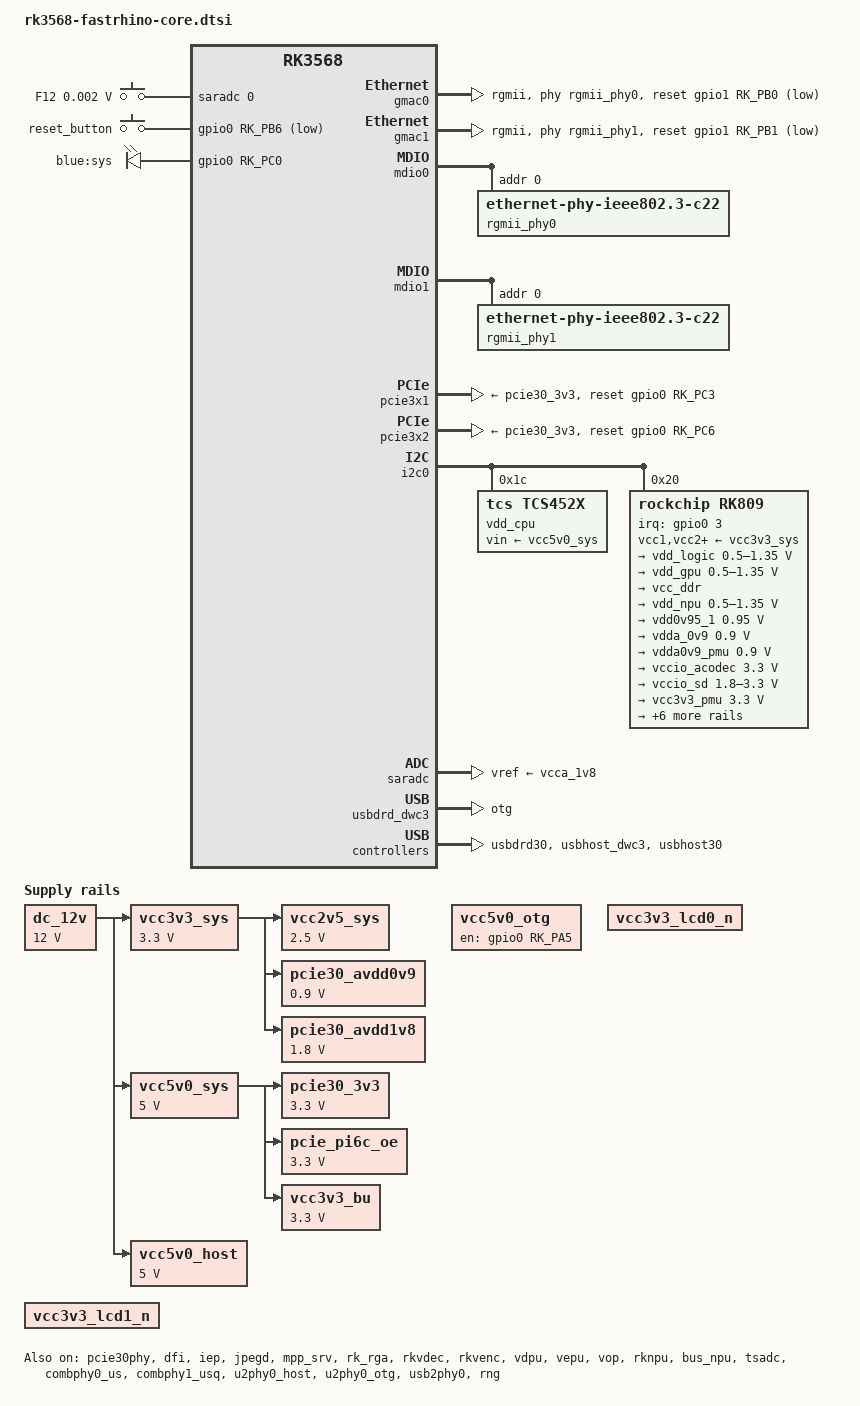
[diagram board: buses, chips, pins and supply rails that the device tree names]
// SPDX-License-Identifier: (GPL-2.0+ OR MIT)
/*
 * Copyright (c) 2020 Rockchip Electronics Co., Ltd.
 *
 */

 /dts-v1/;

#include <dt-bindings/gpio/gpio.h>
#include <dt-bindings/pwm/pwm.h>
#include <dt-bindings/pinctrl/rockchip.h>
#include <dt-bindings/input/rk-input.h>
#include <dt-bindings/display/drm_mipi_dsi.h>
#include <dt-bindings/sensor-dev.h>
#include "rk3568.dtsi"

/ {
	compatible = "fastrhino,core", "rockchip,rk3568";

	chosen: chosen {
		bootargs = "earlycon=uart8250,mmio32,0xfe660000 console=ttyFIQ0 root=PARTUUID=614e0000-0000 rw rootwait";
	};

	fiq-debugger {
		compatible = "rockchip,fiq-debugger";
		rockchip,serial-id = <2>;
		rockchip,wake-irq = <0>;
		/* If enable uart uses irq instead of fiq */
		rockchip,irq-mode-enable = <1>;
		rockchip,baudrate = <1500000>;  /* Only 115200 and 1500000 */
		interrupts = <GIC_SPI 252 IRQ_TYPE_LEVEL_LOW>;
		pinctrl-names = "default";
		pinctrl-0 = <&uart2m0_xfer>;
		status = "okay";
	};

	debug: debug@fd904000 {
		compatible = "rockchip,debug";
		reg = <0x0 0xfd904000 0x0 0x1000>,
			<0x0 0xfd905000 0x0 0x1000>,
			<0x0 0xfd906000 0x0 0x1000>,
			<0x0 0xfd907000 0x0 0x1000>;
	};

	cspmu: cspmu@fd90c000 {
		compatible = "rockchip,cspmu";
		reg = <0x0 0xfd90c000 0x0 0x1000>,
			<0x0 0xfd90d000 0x0 0x1000>,
			<0x0 0xfd90e000 0x0 0x1000>,
			<0x0 0xfd90f000 0x0 0x1000>;
	};

	dc_12v: dc-12v {
		compatible = "regulator-fixed";
		regulator-name = "dc_12v";
		regulator-always-on;
		regulator-boot-on;
		regulator-min-microvolt = <12000000>;
		regulator-max-microvolt = <12000000>;
	};

	hdmi_sound: hdmi-sound {
		compatible = "simple-audio-card";
		simple-audio-card,format = "i2s";
		simple-audio-card,mclk-fs = <128>;
		simple-audio-card,name = "rockchip,hdmi";
		status = "disabled";

		simple-audio-card,cpu {
				sound-dai = <&i2s0_8ch>;
		};
		simple-audio-card,codec {
				sound-dai = <&hdmi>;
		};
	};

	vcc3v3_sys: vcc3v3-sys {
		compatible = "regulator-fixed";
		regulator-name = "vcc3v3_sys";
		regulator-always-on;
		regulator-boot-on;
		regulator-min-microvolt = <3300000>;
		regulator-max-microvolt = <3300000>;
		vin-supply = <&dc_12v>;
	};

	vcc5v0_sys: vcc5v0-sys {
		compatible = "regulator-fixed";
		regulator-name = "vcc5v0_sys";
		regulator-always-on;
		regulator-boot-on;
		regulator-min-microvolt = <5000000>;
		regulator-max-microvolt = <5000000>;
		vin-supply = <&dc_12v>;
	};

	vcc5v0_host: vcc5v0-host-regulator {
		compatible = "regulator-fixed";
		regulator-name = "vcc5v0_host";
		regulator-always-on;
		regulator-boot-on;
		regulator-min-microvolt = <5000000>;
		regulator-max-microvolt = <5000000>;
		vin-supply = <&dc_12v>;
	};

	vcc5v0_otg: vcc5v0-otg-regulator {
		compatible = "regulator-fixed";
		enable-active-high;
		gpio = <&gpio0 RK_PA5 GPIO_ACTIVE_HIGH>;
		pinctrl-names = "default";
		pinctrl-0 = <&vcc5v0_otg_en>;
		regulator-name = "vcc5v0_otg";
	};

	vcc3v3_lcd0_n: vcc3v3-lcd0-n {
		compatible = "regulator-fixed";
		regulator-name = "vcc3v3_lcd0_n";
		regulator-boot-on;
		regulator-state-mem {
			regulator-off-in-suspend;
		};
	};

	vcc3v3_lcd1_n: vcc3v3-lcd1-n {
		compatible = "regulator-fixed";
		regulator-name = "vcc3v3_lcd1_n";
		regulator-boot-on;
		regulator-state-mem {
			regulator-off-in-suspend;
		};
	};

	vcc2v5_sys: vcc2v5-ddr {
		compatible = "regulator-fixed";
		regulator-name = "vcc2v5-sys";
		regulator-always-on;
		regulator-boot-on;
		regulator-min-microvolt = <2500000>;
		regulator-max-microvolt = <2500000>;
		vin-supply = <&vcc3v3_sys>;
	};

	vcc3v3_vga: vcc3v3-vga {
		compatible = "regulator-fixed";
		regulator-name = "vcc3v3_vga";
		regulator-always-on;
		regulator-boot-on;
		gpio = <&gpio0 RK_PD5 GPIO_ACTIVE_HIGH>;
		enable-active-high;
		vin-supply = <&vcc3v3_sys>;
	};

	pcie30_avdd0v9: pcie30-avdd0v9 {
		compatible = "regulator-fixed";
		regulator-name = "pcie30_avdd0v9";
		regulator-always-on;
		regulator-boot-on;
		regulator-min-microvolt = <900000>;
		regulator-max-microvolt = <900000>;
		vin-supply = <&vcc3v3_sys>;
	};

	pcie30_avdd1v8: pcie30-avdd1v8 {
		compatible = "regulator-fixed";
		regulator-name = "pcie30_avdd1v8";
		regulator-always-on;
		regulator-boot-on;
		regulator-min-microvolt = <1800000>;
		regulator-max-microvolt = <1800000>;
		vin-supply = <&vcc3v3_sys>;
	};

	pcie30_3v3: gpio-regulator {
		compatible = "regulator-fixed";
		regulator-name = "pcie30_3v3";
		regulator-always-on;
		regulator-boot-on;
		regulator-min-microvolt = <3300000>;
		regulator-max-microvolt = <3300000>;
		vin-supply = <&vcc5v0_sys>;
	};

    pcie_pi6c_oe: pcie-pi6c-oe-regulator {
		compatible = "regulator-fixed";
		regulator-name = "pcie_pi6c_oe_en";
		regulator-always-on;
		regulator-boot-on;
		regulator-min-microvolt = <3300000>;
		regulator-max-microvolt = <3300000>;
		vin-supply = <&vcc5v0_sys>;
	};

	vcc3v3_bu: vcc3v3-bu {
		compatible = "regulator-fixed";
		regulator-name = "vcc3v3_bu";
		regulator-always-on;
		regulator-boot-on;
		regulator-min-microvolt = <3300000>;
		regulator-max-microvolt = <3300000>;
		vin-supply = <&vcc5v0_sys>;
	};

	adc_keys: adc-keys {
		compatible = "adc-keys";
		io-channels = <&saradc 0>;
		io-channel-names = "buttons";
		keyup-threshold-microvolt = <1800000>;
		poll-interval = <100>;

		recovery-key {
			label = "F12";
			linux,code = <KEY_F12>;
			press-threshold-microvolt = <1750>;
		};
	};

	gpio_keys {
		compatible = "gpio-keys";
		pinctrl-0 = <&reset_button>;
		pinctrl-names = "default";

		button@1 {
			label = "reset_button";
			linux,code = <KEY_RESTART>;
			gpios = <&gpio0 RK_PB6 GPIO_ACTIVE_LOW>;
			linux,input-type = <1>;
			debounce-interval = <60>;
		};
	};

	test-power {
		status = "okay";
	};

	leds {
		compatible = "gpio-leds";
		sys_led: sys {
			gpios = <&gpio0 RK_PC0 GPIO_ACTIVE_HIGH>;
			linux,default-trigger = "heartbeat";
			default-state = "on";
			label = "blue:sys";
			pinctrl-names = "default";
			pinctrl-0 = <&led_sys>;
		};
	};

};

/* LAN0 */
&gmac0 {
	phy-mode = "rgmii";
	clock_in_out = "input";

	snps,reset-gpio = <&gpio1 RK_PB0 GPIO_ACTIVE_LOW>;
	snps,reset-active-low;
	/* Reset time is 20ms, 100ms for rtl8211f */
	snps,reset-delays-us = <0 20000 100000>;

	assigned-clocks = <&cru SCLK_GMAC0_RX_TX>, <&cru SCLK_GMAC0>;
	assigned-clock-parents = <&cru SCLK_GMAC0_RGMII_SPEED>, <&gmac0_clkin>;

	pinctrl-names = "default";
	pinctrl-0 = <&gmac0_miim
		     &gmac0_tx_bus2
		     &gmac0_rx_bus2
		     &gmac0_rgmii_clk
		     &gmac0_rgmii_bus
		     &gmac0_clkinout>;

	tx_delay = <0x3c>;
	rx_delay = <0x2f>;

	phy-handle = <&rgmii_phy0>;
	status = "okay";
};

/* LAN1 */
&gmac1 {
	phy-mode = "rgmii";
	clock_in_out = "input";

	snps,reset-gpio = <&gpio1 RK_PB1 GPIO_ACTIVE_LOW>;
	snps,reset-active-low;
	/* Reset time is 20ms, 100ms for rtl8211f */
	snps,reset-delays-us = <0 20000 100000>;

	assigned-clocks = <&cru SCLK_GMAC1_RX_TX>, <&cru SCLK_GMAC1>;
	assigned-clock-parents = <&cru SCLK_GMAC1_RGMII_SPEED>, <&gmac1_clkin>;

	pinctrl-names = "default";
	pinctrl-0 = <&gmac1m1_miim
		     &gmac1m1_tx_bus2
		     &gmac1m1_rx_bus2
		     &gmac1m1_rgmii_clk
		     &gmac1m1_rgmii_bus
		     &gmac1m1_clkinout>;

	tx_delay = <0x4f>;
	rx_delay = <0x26>;

	phy-handle = <&rgmii_phy1>;
	status = "okay";
};

&mdio0 {
	rgmii_phy0: phy@0 {
		compatible = "ethernet-phy-ieee802.3-c22";
		reg = <0x0>;
	};
};

&mdio1 {
	rgmii_phy1: phy@0 {
		compatible = "ethernet-phy-ieee802.3-c22";
		reg = <0x0>;
	};
};

&rgmii_phy0 {
	led_status_value = <0x6940>;
};

&rgmii_phy1 {
	led_status_value = <0x6940>;
};

&pcie30phy {
	status = "okay";
};

/* LAN3 */
&pcie3x1 {
	rockchip,bifurcation;
	reset-gpios = <&gpio0 RK_PC3 GPIO_ACTIVE_HIGH>;
	vpcie3v3-supply = <&pcie30_3v3>;
	status = "okay";
};

/* LAN2 */
&pcie3x2 {
	rockchip,bifurcation;
	reset-gpios = <&gpio0 RK_PC6 GPIO_ACTIVE_HIGH>;
	vpcie3v3-supply = <&pcie30_3v3>;
	status = "okay";
};

&pwm15 {
	status = "disabled";
	compatible = "rockchip,remotectl-pwm";
	remote_pwm_id = <3>;
	handle_cpu_id = <1>;
	remote_support_psci = <0>;
	pinctrl-names = "default";
	pinctrl-0 = <&pwm15m1_pins>;

	ir_key_r68s {
		rockchip,usercode = <0xff00>;
		rockchip,key_table =
			<0xeb   KEY_POWER>,
			<0xec   KEY_MENU>,
			<0xfe   KEY_BACK>,
			<0xb7   KEY_HOME>,
			<0xa3   KEY_WWW>,
			<0xf4   KEY_VOLUMEUP>,
			<0xa7   KEY_VOLUMEDOWN>,
			<0xf8   KEY_REPLY>,
			<0xfc   KEY_UP>,
			<0xfd   KEY_DOWN>,
			<0xf1   KEY_LEFT>,
			<0xe5   KEY_RIGHT>;
	};
};

&cpu0 {
	cpu-supply = <&vdd_cpu>;
};

&dfi {
	status = "okay";
};

&dmc {
	center-supply = <&vdd_logic>;
	status = "disabled";
};

&gpu {
	mali-supply = <&vdd_gpu>;
	status = "disabled";
};

&hdmi {
	status = "disabled";
};

&hdmi_in_vp0 {
	status = "disabled";
};

&hdmi_in_vp1 {
	status = "disabled";
};

&i2c0 {
	status = "okay";

	vdd_cpu: tcs4525@1c {
		compatible = "tcs,tcs452x";
		reg = <0x1c>;
		vin-supply = <&vcc5v0_sys>;
		regulator-compatible = "fan53555-reg";
		regulator-name = "vdd_cpu";
		regulator-min-microvolt = <712500>;
		regulator-max-microvolt = <1390000>;
		regulator-ramp-delay = <2300>;
		fcs,suspend-voltage-selector = <1>;
		regulator-boot-on;
		regulator-always-on;
		regulator-state-mem {
			regulator-off-in-suspend;
		};
	};

	rk809: pmic@20 {
		compatible = "rockchip,rk809";
		reg = <0x20>;
		interrupt-parent = <&gpio0>;
		interrupts = <3 IRQ_TYPE_LEVEL_LOW>;

		pinctrl-names = "default", "pmic-sleep",
				"pmic-power-off", "pmic-reset";
		pinctrl-0 = <&pmic_int>;
		pinctrl-1 = <&soc_slppin_slp>, <&rk817_slppin_slp>;
		pinctrl-2 = <&soc_slppin_gpio>, <&rk817_slppin_pwrdn>;
		pinctrl-3 = <&soc_slppin_gpio>, <&rk817_slppin_rst>;

		rockchip,system-power-controller;
		wakeup-source;
		#clock-cells = <1>;
		clock-output-names = "rk808-clkout1", "rk808-clkout2";
		//fb-inner-reg-idxs = <2>;
		/* 1: rst regs (default in codes), 0: rst the pmic */
		pmic-reset-func = <0>;
		/* not save the PMIC_POWER_EN register in uboot */
		not-save-power-en = <1>;

		vcc1-supply = <&vcc3v3_sys>;
		vcc2-supply = <&vcc3v3_sys>;
		vcc3-supply = <&vcc3v3_sys>;
		vcc4-supply = <&vcc3v3_sys>;
		vcc5-supply = <&vcc3v3_sys>;
		vcc6-supply = <&vcc3v3_sys>;
		vcc7-supply = <&vcc3v3_sys>;
		vcc8-supply = <&vcc3v3_sys>;
		vcc9-supply = <&vcc3v3_sys>;

		pwrkey {
			status = "okay";
		};

		pinctrl_rk8xx: pinctrl_rk8xx {
			gpio-controller;
			#gpio-cells = <2>;

			rk817_slppin_null: rk817_slppin_null {
				pins = "gpio_slp";
				function = "pin_fun0";
			};

			rk817_slppin_slp: rk817_slppin_slp {
				pins = "gpio_slp";
				function = "pin_fun1";
			};

			rk817_slppin_pwrdn: rk817_slppin_pwrdn {
				pins = "gpio_slp";
				function = "pin_fun2";
			};

			rk817_slppin_rst: rk817_slppin_rst {
				pins = "gpio_slp";
				function = "pin_fun3";
			};
		};

		regulators {
			vdd_logic: DCDC_REG1 {
				regulator-always-on;
				regulator-boot-on;
				regulator-min-microvolt = <500000>;
				regulator-max-microvolt = <1350000>;
				regulator-init-microvolt = <900000>;
				regulator-ramp-delay = <6001>;
				regulator-initial-mode = <0x2>;
				regulator-name = "vdd_logic";
				regulator-state-mem {
					regulator-off-in-suspend;
				};
			};

			vdd_gpu: DCDC_REG2 {
				regulator-always-on;
				regulator-boot-on;
				regulator-min-microvolt = <500000>;
				regulator-max-microvolt = <1350000>;
				regulator-init-microvolt = <900000>;
				regulator-ramp-delay = <6001>;
				regulator-initial-mode = <0x2>;
				regulator-name = "vdd_gpu";
				regulator-state-mem {
					regulator-off-in-suspend;
				};
			};

			vcc_ddr: DCDC_REG3 {
				regulator-always-on;
				regulator-boot-on;
				regulator-initial-mode = <0x2>;
				regulator-name = "vcc_ddr";
				regulator-state-mem {
					regulator-on-in-suspend;
				};
			};

			vdd_npu: DCDC_REG4 {
				regulator-always-on;
				regulator-boot-on;
				regulator-min-microvolt = <500000>;
				regulator-max-microvolt = <1350000>;
				regulator-init-microvolt = <900000>;
				regulator-ramp-delay = <6001>;
				regulator-initial-mode = <0x2>;
				regulator-name = "vdd_npu";
				regulator-state-mem {
					regulator-off-in-suspend;
				};
			};

			vdd0v95_1: LDO_REG1 {
				regulator-boot-on;
				regulator-always-on;
				regulator-min-microvolt = <950000>;
				regulator-max-microvolt = <950000>;
				regulator-name = "vdd0v95_1";
				regulator-state-mem {
					regulator-on-in-suspend;
					regulator-suspend-microvolt = <950000>;
				};
			};

			vdda_0v9: LDO_REG2 {
				regulator-always-on;
				regulator-boot-on;
				regulator-min-microvolt = <900000>;
				regulator-max-microvolt = <900000>;
				regulator-name = "vdda_0v9";
				regulator-state-mem {
					regulator-off-in-suspend;
				};
			};

			vdda0v9_pmu: LDO_REG3 {
				regulator-always-on;
				regulator-boot-on;
				regulator-min-microvolt = <900000>;
				regulator-max-microvolt = <900000>;
				regulator-name = "vdda0v9_pmu";
				regulator-state-mem {
					regulator-on-in-suspend;
					regulator-suspend-microvolt = <900000>;
				};
			};

			vccio_acodec: LDO_REG4 {
				regulator-always-on;
				regulator-boot-on;
				regulator-min-microvolt = <3300000>;
				regulator-max-microvolt = <3300000>;
				regulator-name = "vccio_acodec";
				regulator-state-mem {
					regulator-off-in-suspend;
				};
			};

			vccio_sd: LDO_REG5 {
				regulator-always-on;
				regulator-boot-on;
				regulator-min-microvolt = <1800000>;
				regulator-max-microvolt = <3300000>;
				regulator-name = "vccio_sd";
				regulator-state-mem {
					regulator-off-in-suspend;
				};
			};

			vcc3v3_pmu: LDO_REG6 {
				regulator-always-on;
				regulator-boot-on;
				regulator-min-microvolt = <3300000>;
				regulator-max-microvolt = <3300000>;
				regulator-name = "vcc3v3_pmu";
				regulator-state-mem {
					regulator-on-in-suspend;
					regulator-suspend-microvolt = <3300000>;
				};
			};

			vcca_1v8: LDO_REG7 {
				regulator-always-on;
				regulator-boot-on;
				regulator-min-microvolt = <1800000>;
				regulator-max-microvolt = <1800000>;
				regulator-name = "vcca_1v8";
				regulator-state-mem {
					regulator-off-in-suspend;
				};
			};

			vcca1v8_pmu: LDO_REG8 {
				regulator-always-on;
				regulator-boot-on;
				regulator-min-microvolt = <1800000>;
				regulator-max-microvolt = <1800000>;
				regulator-name = "vcca1v8_pmu";
				regulator-state-mem {
					regulator-on-in-suspend;
					regulator-suspend-microvolt = <1800000>;
				};
			};

			vdd0v95_9: LDO_REG9 {
				regulator-always-on;
				regulator-boot-on;
				regulator-min-microvolt = <950000>;
				regulator-max-microvolt = <950000>;
				regulator-name = "vdd0v95_9";
				regulator-state-mem {
					regulator-on-in-suspend;
					regulator-suspend-microvolt = <950000>;
				};
			};

			vcc_1v8: DCDC_REG5 {
				regulator-always-on;
				regulator-boot-on;
				regulator-min-microvolt = <1800000>;
				regulator-max-microvolt = <1800000>;
				regulator-name = "vcc_1v8";
				regulator-state-mem {
					regulator-off-in-suspend;
				};
			};

			vcc_3v3: SWITCH_REG1 {
				regulator-always-on;
				regulator-boot-on;
				regulator-name = "vcc_3v3";
				regulator-state-mem {
					regulator-off-in-suspend;
				};
			};

			vcc3v3_sd: SWITCH_REG2 {
				regulator-always-on;
				regulator-boot-on;
				regulator-name = "vcc3v3_sd";
				regulator-state-mem {
					regulator-off-in-suspend;
				};
			};
		};

		rk809_codec: codec {
			#sound-dai-cells = <0>;
			compatible = "rockchip,rk809-codec", "rockchip,rk817-codec";
			clocks = <&cru I2S1_MCLKOUT>;
			clock-names = "mclk";
			assigned-clocks = <&cru I2S1_MCLKOUT>, <&cru I2S1_MCLK_TX_IOE>;
			assigned-clock-rates = <12288000>;
			assigned-clock-parents = <&cru I2S1_MCLKOUT_TX>, <&cru I2S1_MCLKOUT_TX>;
			pinctrl-names = "default","spk_gpio";
			pinctrl-0 = <&i2s1m0_mclk>;
			pinctrl-1 = <&spk_ctl_gpio>;
			hp-volume = <20>;
			spk-volume = <3>;
			//mic-in-differential;

			capture-volume = <0>;
			io-channels = <&saradc 4>;
			hp-det-adc-value = <1000>;
			spk-ctl-gpios = <&gpio3 RK_PC5 GPIO_ACTIVE_HIGH>;
			status = "disabled";
		};

		rtc {
			status = "disabled";
		};
	};
};

&i2s0_8ch {
	status = "disabled";
};

&i2s1_8ch {
	status = "disabled";
	rockchip,clk-trcm = <1>;
	pinctrl-names = "default";
	pinctrl-0 = <&i2s1m0_sclktx
		     &i2s1m0_lrcktx
		     &i2s1m0_sdi0
		     &i2s1m0_sdo0>;
};

&iep {
	status = "okay";
};

&iep_mmu {
	status = "okay";
};

&jpegd {
	status = "okay";
};

&jpegd_mmu {
	status = "okay";
};

&mpp_srv {
	status = "okay";
};

&nandc0 {
	#address-cells = <1>;
	#size-cells = <0>;
	status = "disabled";

	nand@0 {
		reg = <0>;
		nand-bus-width = <8>;
		nand-ecc-mode = "hw";
		nand-ecc-strength = <16>;
		nand-ecc-step-size = <1024>;
	};
};

&pmu_io_domains {
	status = "okay";
	pmuio1-supply = <&vcc3v3_pmu>;
	pmuio2-supply = <&vcc3v3_pmu>;
	vccio1-supply = <&vccio_acodec>;
	vccio3-supply = <&vccio_sd>;
	vccio4-supply = <&vcc_1v8>;
	vccio5-supply = <&vcc_3v3>;
	vccio6-supply = <&vcc_1v8>;
	vccio7-supply = <&vcc_3v3>;
};

&pwm4 {
	status = "disabled";
};

&pwm5 {
	status = "disabled";
};

&rk_rga {
	status = "okay";
};

&rkvdec {
	status = "okay";
};

&rkvdec_mmu {
	status = "okay";
};

&rkvenc {
	venc-supply = <&vdd_logic>;
	status = "okay";
};

&rkvenc_mmu {
	status = "okay";
};

&vdpu {
	status = "okay";
};

&vdpu_mmu {
	status = "okay";
};

&vepu {
	status = "okay";
};

&vepu_mmu {
	status = "okay";
};

&vop {
	status = "okay";
	assigned-clocks = <&cru DCLK_VOP0>, <&cru DCLK_VOP1>;
	assigned-clock-parents = <&pmucru PLL_HPLL>, <&cru PLL_VPLL>;
};

&vop_mmu {
	status = "okay";
};

&rknpu {
	rknpu-supply = <&vdd_npu>;
	status = "okay";
};

&rknpu_mmu {
	status = "okay";
};

&bus_npu {
	bus-supply = <&vdd_logic>;
	pvtm-supply = <&vdd_cpu>;
	status = "okay";
};

&saradc {
	status = "okay";
	vref-supply = <&vcca_1v8>;
};

&sdhci {
	bus-width = <8>;
	supports-emmc;
	non-removable;
	max-frequency = <200000000>;
	status = "disabled";
};

&sdmmc0 {
	max-frequency = <150000000>;
	supports-sd;
	bus-width = <4>;
	cap-mmc-highspeed;
	cap-sd-highspeed;
	disable-wp;
	sd-uhs-sdr104;
	vmmc-supply = <&vcc3v3_sd>;
	vqmmc-supply = <&vccio_sd>;
	pinctrl-names = "default";
	pinctrl-0 = <&sdmmc0_bus4 &sdmmc0_clk &sdmmc0_cmd &sdmmc0_det>;
	status = "disabled";
};

&spdif_8ch {
	status = "disabled";
};

&tsadc {
	status = "okay";
};

&combphy0_us {
	status = "okay";
};

&combphy1_usq {
	status = "okay";
};

&combphy2_psq {
	status = "disabled";
};

&u2phy0_host {
	phy-supply = <&vcc5v0_host>;
	status = "okay";
};

&u2phy0_otg {
	vbus-supply = <&vcc5v0_otg>;
	status = "okay";
};

&u2phy1_host {
	phy-supply = <&vcc5v0_host>;
	status = "disabled";
};

&u2phy1_otg {
	phy-supply = <&vcc5v0_host>;
	status = "disabled";
};

&usb2phy0 {
	status = "okay";
};

&usb2phy1 {
	status = "disabled";
};

&usb_host0_ehci {
	status = "disabled";
};

&usb_host0_ohci {
	status = "disabled";
};

&usb_host1_ehci {
	status = "disabled";
};

&usb_host1_ohci {
	status = "disabled";
};

&usbdrd_dwc3 {
	dr_mode = "otg";
	extcon = <&usb2phy0>;
	status = "okay";
};

&usbdrd30 {
	status = "okay";
};

&usbhost_dwc3 {
	status = "okay";
};

&usbhost30 {
	status = "okay";
};

&vcc3v3_vga {
	status = "disabled";
};

&vad {
	rockchip,audio-src = <&i2s1_8ch>;
	rockchip,buffer-time-ms = <128>;
	rockchip,det-channel = <0>;
	rockchip,mode = <0>;
	status = "disabled";
};

&reserved_memory {
	ramoops: ramoops@110000 {
		compatible = "ramoops";
		reg = <0x0 0x110000 0x0 0xf0000>;
		record-size = <0x20000>;
		console-size = <0x80000>;
		ftrace-size = <0x00000>;
		pmsg-size = <0x50000>;
	};
};

&rng {
	status = "okay";
};

&rockchip_suspend {
	status = "okay";
};

&cpu0_opp_table {
	opp-408000000 {
		opp-microvolt-L0 = <825000 825000 1150000>;
		opp-microvolt-L1 = <825000 825000 1150000>;
		opp-microvolt-L2 = <825000 825000 1150000>;
	};
	opp-600000000 {
		opp-microvolt-L0 = <825000 825000 1150000>;
		opp-microvolt-L1 = <825000 825000 1150000>;
		opp-microvolt-L2 = <825000 825000 1150000>;
	};
	opp-816000000 {
		opp-microvolt-L0 = <825000 825000 1150000>;
		opp-microvolt-L1 = <825000 825000 1150000>;
		opp-microvolt-L2 = <825000 825000 1150000>;
	};
	opp-1104000000 {
		opp-microvolt-L0 = <825000 825000 1150000>;
		opp-microvolt-L1 = <800000 800000 1150000>;
		opp-microvolt-L2 = <775000 775000 1150000>;
	};
	opp-1416000000 {
		opp-microvolt-L0 = <925000 925000 1150000>;
		opp-microvolt-L1 = <900000 900000 1150000>;
		opp-microvolt-L2 = <875000 875000 1150000>;
	};
	opp-1608000000 {
		opp-microvolt-L0 = <1000000 1000000 1150000>;
		opp-microvolt-L1 = <975000 975000 1150000>;
		opp-microvolt-L2 = <950000 950000 1150000>;
	};
	opp-1800000000 {
		opp-microvolt-L0 = <1050000 1050000 1150000>;
		opp-microvolt-L1 = <1025000 1025000 1150000>;
		opp-microvolt-L2 = <1000000 1000000 1150000>;
	};
	opp-1992000000 {
		opp-microvolt-L0 = <1150000 1150000 1150000>;
		opp-microvolt-L1 = <1125000 1125000 1150000>;
		opp-microvolt-L2 = <1100000 1100000 1150000>;
	};
};

&pinctrl {

	pmic {
		pmic_int: pmic_int {
			rockchip,pins =
				<0 RK_PA3 RK_FUNC_GPIO &pcfg_pull_up>;
		};

		soc_slppin_gpio: soc_slppin_gpio {
			rockchip,pins =
				<0 RK_PA2 RK_FUNC_GPIO &pcfg_output_low_pull_down>;
		};

		soc_slppin_slp: soc_slppin_slp {
			rockchip,pins =
				<0 RK_PA2 RK_FUNC_1 &pcfg_pull_up>;
		};

		soc_slppin_rst: soc_slppin_rst {
			rockchip,pins =
				<0 RK_PA2 RK_FUNC_2 &pcfg_pull_none>;
		};

		spk_ctl_gpio: spk_ctl_gpio {
			rockchip,pins = <3 RK_PC5 RK_FUNC_GPIO &pcfg_pull_up>;
		};
	};

	usb {
		vcc5v0_otg_en: vcc5v0-otg-en {
			rockchip,pins = <0 RK_PA5 RK_FUNC_GPIO &pcfg_pull_none>;
		};
	};

	button_pins {
		reset_button: reset_button {
			rockchip,pins = <0 RK_PB6 RK_FUNC_GPIO &pcfg_pull_up>;
		};
	};

	leds {
		led_sys: led-sys {
			rockchip,pins = <0 RK_PC0 RK_FUNC_GPIO &pcfg_pull_none>;
		};
	};
};
